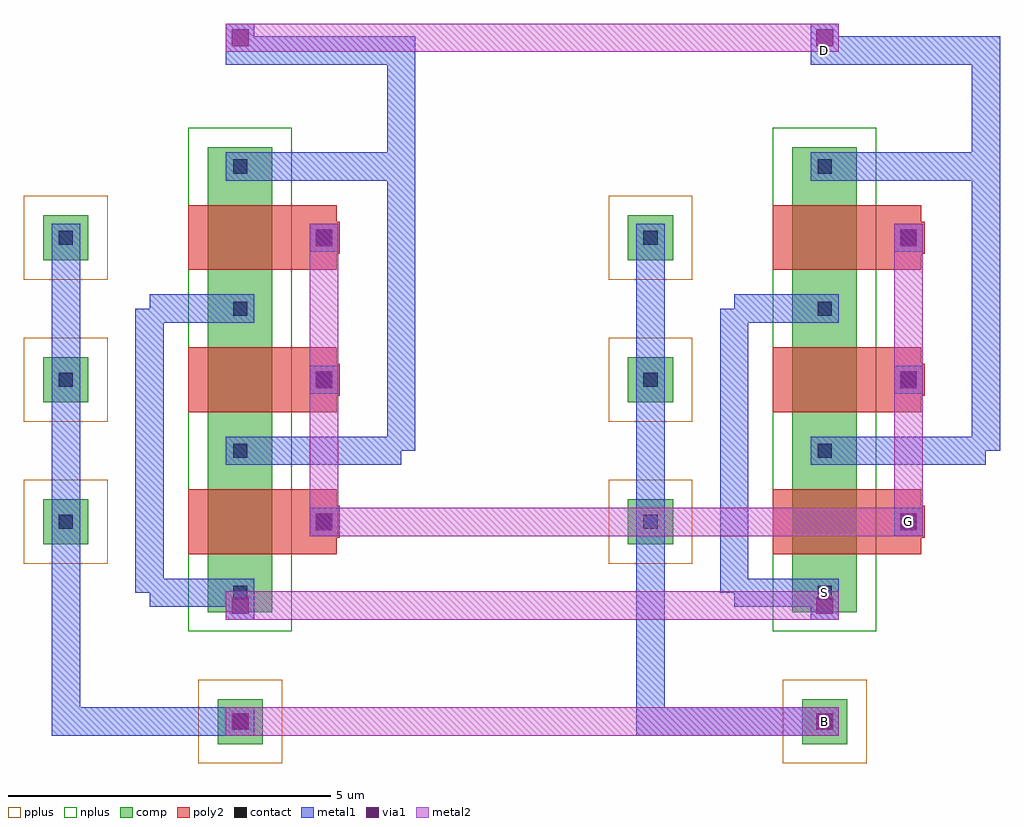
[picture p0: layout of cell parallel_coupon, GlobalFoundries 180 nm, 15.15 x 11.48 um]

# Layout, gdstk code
import gdstk
lib = gdstk.Library(unit=1e-6, precision=1e-09)
def R(c, l, rs):  # rectangles x0, y0, x1, y1
    for r in rs: c.add(gdstk.rectangle(r[:2], r[2:], *l))
def A(c, l, x, y, w, h, nx, ny, dx, dy):  # array of equal rectangles
    R(c, l, [(x+i*dx, y+j*dy, x+i*dx+w, y+j*dy+h) for i in range(nx) for j in range(ny)])
def P(c, l, *ps):  # polygons
    for p in ps: c.add(gdstk.Polygon(p, *l))
comp = (22, 0)
poly2 = (30, 0)
pplus = (31, 0)
nplus = (32, 0)
contact = (33, 0)
metal1 = (34, 0)
via1 = (35, 0)
metal2 = (36, 0)

parallel_coupon = lib.new_cell('parallel_coupon')
A(parallel_coupon, comp, -12.63, 0.15, 0.7, 0.7, 1, 3, 0, 2.205)
A(parallel_coupon, comp, -3.555, 0.15, 0.7, 0.7, 1, 3, 0, 2.205)
R(parallel_coupon, comp, [(-9.925,-2.95,-9.225,-2.25), (-0.85,-2.95,-0.15,-2.25), (-10.08,-0.9,-9.075,6.315), (-1.005,-0.9,0,6.315)])
A(parallel_coupon, poly2, -10.38, 0, 2.305, 1.005, 1, 3, 0, 2.205)
A(parallel_coupon, poly2, -1.305, 0, 2.305, 1.005, 1, 3, 0, 2.205)
A(parallel_coupon, poly2, -8.525, 0.25, 0.5, 0.5, 1, 3, 0, 2.205)
A(parallel_coupon, poly2, 0.55, 0.25, 0.5, 0.5, 1, 3, 0, 2.205)
A(parallel_coupon, pplus, -12.93, -0.15, 1.3, 1.3, 1, 3, 0, 2.205)
A(parallel_coupon, pplus, -3.855, -0.15, 1.3, 1.3, 1, 3, 0, 2.205)
R(parallel_coupon, pplus, [(-10.225,-3.25,-8.925,-1.95), (-1.15,-3.25,0.15,-1.95)])
R(parallel_coupon, nplus, [(-10.38,-1.2,-8.775,6.615), (-1.305,-1.2,0.3,6.615)])
A(parallel_coupon, contact, -9.685, -0.71, 0.22, 0.22, 1, 4, 0, 2.205)
A(parallel_coupon, contact, -0.61, -0.71, 0.22, 0.22, 1, 4, 0, 2.205)
A(parallel_coupon, contact, -12.39, 0.39, 0.22, 0.22, 1, 3, 0, 2.205)
A(parallel_coupon, contact, -8.385, 0.39, 0.22, 0.22, 1, 3, 0, 2.205)
A(parallel_coupon, contact, -3.315, 0.39, 0.22, 0.22, 1, 3, 0, 2.205)
A(parallel_coupon, contact, 0.69, 0.39, 0.22, 0.22, 1, 3, 0, 2.205)
R(parallel_coupon, contact, [(-9.685,-2.71,-9.465,-2.49), (-0.61,-2.71,-0.39,-2.49)])
A(parallel_coupon, metal1, -9.795, -0.82, 0.44, 0.44, 1, 4, 0, 2.205)
A(parallel_coupon, metal1, -0.72, -0.82, 0.44, 0.44, 1, 4, 0, 2.205)
A(parallel_coupon, metal1, -12.5, 0.28, 0.44, 0.44, 1, 3, 0, 2.205)
A(parallel_coupon, metal1, -8.495, 0.28, 0.44, 0.44, 1, 3, 0, 2.205)
A(parallel_coupon, metal1, -3.425, 0.28, 0.44, 0.44, 1, 3, 0, 2.205)
A(parallel_coupon, metal1, 0.58, 0.28, 0.44, 0.44, 1, 3, 0, 2.205)
R(parallel_coupon, metal1, [(-9.795,-2.82,-9.355,-2.38), (-9.795,-2.82,-9.355,-2.38), (-0.72,-2.82,-0.28,-2.38), (-0.72,-2.82,-0.28,-2.38), (-9.795,-1.02,-9.355,-0.38), (-0.72,-1.02,-0.28,-0.38), (-10.98,-0.82,-9.575,-0.38), (-1.905,-0.82,-0.5,-0.38), (-11.2,-0.6,-10.76,3.81), (-2.125,-0.6,-1.685,3.81), (-8.495,0.28,-8.055,0.72), (0.58,0.28,1.02,0.72), (-9.575,1.385,-7.075,1.825), (-0.5,1.385,2,1.825), (-10.98,3.59,-9.575,4.03), (-1.905,3.59,-0.5,4.03), (-9.575,5.795,-7.075,6.235), (-0.5,5.795,2,6.235), (-9.795,7.595,-9.355,8.235), (-0.72,7.595,-0.28,8.235)])
P(parallel_coupon, metal1, [(1.78,1.605),(1.78,7.595),(-0.5,7.595),(-0.5,8.035),(2.22,8.035),(2.22,1.605)],
  [(-3.425,-2.82),(-3.425,4.91),(-2.985,4.91),(-2.985,-2.38),(-0.5,-2.38),(-0.5,-2.82)],
  [(-7.295,1.605),(-7.295,7.595),(-9.575,7.595),(-9.575,8.035),(-6.855,8.035),(-6.855,1.605)],
  [(-12.5,-2.82),(-12.5,4.91),(-12.06,4.91),(-12.06,-2.38),(-9.575,-2.38),(-9.575,-2.82)])
A(parallel_coupon, via1, -8.405, 0.37, 0.26, 0.26, 1, 3, 0, 2.205)
A(parallel_coupon, via1, 0.67, 0.37, 0.26, 0.26, 1, 3, 0, 2.205)
R(parallel_coupon, via1, [(-9.705,-2.73,-9.445,-2.47), (-0.63,-2.73,-0.37,-2.47), (-9.705,-0.93,-9.445,-0.67), (-0.63,-0.93,-0.37,-0.67), (-8.405,0.37,-8.145,0.63), (0.67,0.37,0.93,0.63), (-9.705,7.885,-9.445,8.145), (-0.63,7.885,-0.37,8.145)])
A(parallel_coupon, metal2, -8.495, 0.28, 0.44, 0.44, 1, 3, 0, 2.205)
A(parallel_coupon, metal2, 0.58, 0.28, 0.44, 0.44, 1, 3, 0, 2.205)
R(parallel_coupon, metal2, [(-9.795,-2.82,-9.355,-2.38), (-9.795,-2.82,-0.28,-2.38), (-0.72,-2.82,-0.28,-2.38), (-9.795,-1.02,-9.355,-0.58), (-9.795,-1.02,-0.28,-0.58), (-0.72,-1.02,-0.28,-0.58), (-8.495,0.28,-8.055,0.72), (-8.495,0.28,1.02,0.72), (0.58,0.28,1.02,0.72), (-8.495,0.5,-8.055,4.91), (0.58,0.5,1.02,4.91), (-9.795,7.795,-9.355,8.235), (-9.795,7.795,-0.28,8.235), (-0.72,7.795,-0.28,8.235)])
parallel_coupon.add(gdstk.Label('S', (-0.5,-0.6), layer=34, texttype=10))
parallel_coupon.add(gdstk.Label('D', (-0.5,7.815), layer=34, texttype=10))
parallel_coupon.add(gdstk.Label('G', (0.8,0.5), layer=34, texttype=10))
parallel_coupon.add(gdstk.Label('B', (-0.5,-2.6), layer=34, texttype=10))

lib.write_gds('parallel_coupon.gds')
